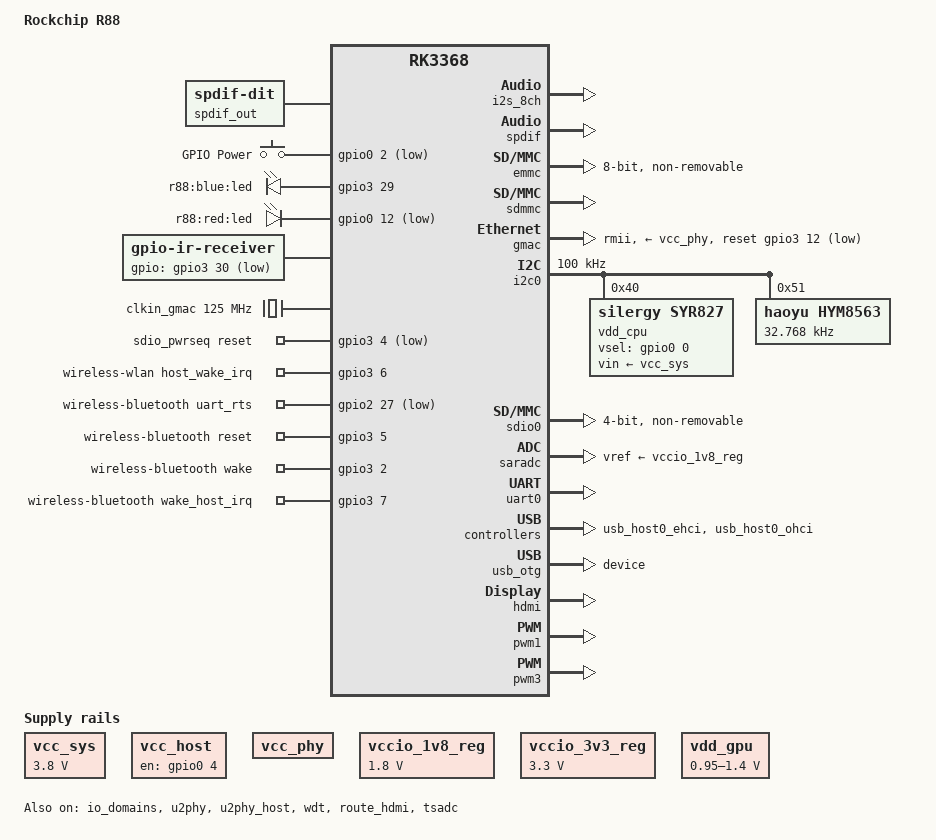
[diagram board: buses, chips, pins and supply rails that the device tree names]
/*
 * Copyright (c) 2015 Heiko Stuebner <heiko@sntech.de>
 *
 * This file is dual-licensed: you can use it either under the terms
 * of the GPL or the X11 license, at your option. Note that this dual
 * licensing only applies to this file, and not this project as a
 * whole.
 *
 *  a) This file is free software; you can redistribute it and/or
 *     modify it under the terms of the GNU General Public License as
 *     published by the Free Software Foundation; either version 2 of the
 *     License, or (at your option) any later version.
 *
 *     This file is distributed in the hope that it will be useful,
 *     but WITHOUT ANY WARRANTY; without even the implied warranty of
 *     MERCHANTABILITY or FITNESS FOR A PARTICULAR PURPOSE.  See the
 *     GNU General Public License for more details.
 *
 * Or, alternatively,
 *
 *  b) Permission is hereby granted, free of charge, to any person
 *     obtaining a copy of this software and associated documentation
 *     files (the "Software"), to deal in the Software without
 *     restriction, including without limitation the rights to use,
 *     copy, modify, merge, publish, distribute, sublicense, and/or
 *     sell copies of the Software, and to permit persons to whom the
 *     Software is furnished to do so, subject to the following
 *     conditions:
 *
 *     The above copyright notice and this permission notice shall be
 *     included in all copies or substantial portions of the Software.
 *
 *     THE SOFTWARE IS PROVIDED "AS IS", WITHOUT WARRANTY OF ANY KIND,
 *     EXPRESS OR IMPLIED, INCLUDING BUT NOT LIMITED TO THE WARRANTIES
 *     OF MERCHANTABILITY, FITNESS FOR A PARTICULAR PURPOSE AND
 *     NONINFRINGEMENT. IN NO EVENT SHALL THE AUTHORS OR COPYRIGHT
 *     HOLDERS BE LIABLE FOR ANY CLAIM, DAMAGES OR OTHER LIABILITY,
 *     WHETHER IN AN ACTION OF CONTRACT, TORT OR OTHERWISE, ARISING
 *     FROM, OUT OF OR IN CONNECTION WITH THE SOFTWARE OR THE USE OR
 *     OTHER DEALINGS IN THE SOFTWARE.
 */

/dts-v1/;
#include "rk3368.dtsi"
#include "rk3368-android.dtsi"
#include <dt-bindings/input/input.h>

/ {
	model = "Rockchip R88";
	compatible = "rockchip,r88", "rockchip,rk3368";

	hdmi_sound: hdmi-sound {
		status = "okay";
		compatible = "simple-audio-card";
		simple-audio-card,format = "i2s";
		simple-audio-card,mclk-fs = <256>;
		simple-audio-card,name = "rockchip,hdmi";

		simple-audio-card,cpu {
			sound-dai = <&i2s_8ch>;
		};
		simple-audio-card,codec {
			sound-dai = <&hdmi>;
		};
	};

	spdif_sound: spdif-sound {
		compatible = "simple-audio-card";
		simple-audio-card,name = "ROCKCHIP,SPDIF";
		simple-audio-card,cpu {
			sound-dai = <&spdif>;
		};
		simple-audio-card,codec {
			sound-dai = <&spdif_out>;
		};
	};

	spdif_out: spdif-out {
		compatible = "linux,spdif-dit";
		#sound-dai-cells = <0>;
	};

	keys: gpio-keys {
		compatible = "gpio-keys";
		#address-cells = <1>;
		#size-cells = <0>;
		pinctrl-names = "default";
		pinctrl-0 = <&pwr_key>;

		button@0 {
			gpio-key,wakeup = <1>;
			gpios = <&gpio0 2 GPIO_ACTIVE_LOW>;
			label = "GPIO Power";
			linux,code = <116>;
		};
	};

	leds: gpio-leds {
		compatible = "gpio-leds";

		work {
			gpios = <&gpio3 29 GPIO_ACTIVE_HIGH>;
			label = "r88:blue:led";
            linux,default-trigger = "default-on";
			pinctrl-names = "default";
			pinctrl-0 = <&led_ctl>;
		};

		power {
			gpios = <&gpio0 12 GPIO_ACTIVE_LOW>;
			label = "r88:red:led";
            linux,default-trigger = "default-off";
			pinctrl-names = "default";
			pinctrl-0 = <&stby_pwren>;
		};
	};

	ir: ir-receiver {
		compatible = "gpio-ir-receiver";
		gpios = <&gpio3 30 GPIO_ACTIVE_LOW>;
		pinctrl-names = "default";
		pinctrl-0 = <&ir_int>;
	};

	vcc_sys: vcc-sys {
		compatible = "regulator-fixed";
		regulator-name = "vcc_sys";
		regulator-always-on;
		regulator-boot-on;
		regulator-min-microvolt = <3800000>;
		regulator-max-microvolt = <3800000>;
	};

	vcc_host: vcc-host {
		compatible = "regulator-fixed";
		enable-active-high;
		gpio = <&gpio0 4 GPIO_ACTIVE_HIGH>;
		pinctrl-names = "default";
		pinctrl-0 = <&host_vbus_drv>;
		regulator-name = "vcc_host";
		regulator-always-on;
	};

	vcc_phy: vcc-phy-regulator {
		compatible = "regulator-fixed";
		regulator-name = "vcc_phy";
		regulator-always-on;
		regulator-boot-on;
	};

	regulators {
		compatible = "simple-bus";
		#address-cells = <1>;
		#size-cells = <0>;

		vccio_1v8_reg: regulator@0 {
			compatible = "regulator-fixed";
			regulator-name = "vccio_1v8";
			regulator-min-microvolt = <1800000>;
			regulator-max-microvolt = <1800000>;
			regulator-always-on;
		};

		vccio_3v3_reg: regulator@1 {
			compatible = "regulator-fixed";
			regulator-name = "vccio_3v3";
			regulator-min-microvolt = <3300000>;
			regulator-max-microvolt = <3300000>;
			regulator-always-on;
		};
	};

	vdd_gpu: vdd-arm-regulator {
			compatible = "pwm-regulator";
			rockchip,pwm_id = <1>;
			rockchip,pwm_voltage = <1100000>;
			pwms = <&pwm1 0 25000 1>;
			regulator-name = "vdd_gpu";
			regulator-min-microvolt = <950000>;
			regulator-max-microvolt = <1400000>;
			regulator-always-on;
			regulator-boot-on;
	};

	clkin_gmac: external-gmac-clock {
		compatible = "fixed-clock";
		clock-frequency = <125000000>;
		clock-output-names = "clkin_gmac";
		#clock-cells = <0>;
	};

	sdio_pwrseq: sdio-pwrseq {
		compatible = "mmc-pwrseq-simple";
		pinctrl-names = "default";
		pinctrl-0 = <&wifi_enable_h>;

		/*
		 * On the module itself this is one of these (depending
		 * on the actual card populated):
		 * - SDIO_RESET_L_WL_REG_ON
		 * - PDN (power down when low)
		 */
		reset-gpios = <&gpio3 4 GPIO_ACTIVE_LOW>;
	};

	wireless-wlan {
		compatible = "wlan-platdata";
		rockchip,grf = <&grf>;
		wifi_chip_type = "ap6255";
		sdio_vref = <3300>;
		WIFI,host_wake_irq = <&gpio3 6 GPIO_ACTIVE_HIGH>;
		status = "okay";
	};

	wireless-bluetooth {
		compatible = "bluetooth-platdata";
		//clocks = <&rk808 1>;
		//clock-names = "ext_clock";
		/* wifi-bt-power-toggle; */
		uart_rts_gpios = <&gpio2 27 GPIO_ACTIVE_LOW>;
		pinctrl-names = "default", "rts_gpio";
		pinctrl-0 = <&uart0_rts>;
		pinctrl-1 = <&uart0_gpios>;
		/* BT,power_gpio  = <&gpio3 19 GPIO_ACTIVE_HIGH>; */
		BT,reset_gpio    = <&gpio3 5 GPIO_ACTIVE_HIGH>;
		BT,wake_gpio     = <&gpio3 2 GPIO_ACTIVE_HIGH>;
		BT,wake_host_irq = <&gpio3 7 GPIO_ACTIVE_HIGH>;
		status = "okay";
	};

	thermal_zones: thermal-zones {
		soc_thermal: soc-thermal {
			trips {
				threshold: trip-point@0 {
					temperature = <80000>;//<70000>; /* millicelsius */
					hysteresis = <2000>; /* millicelsius */
					type = "passive";
				};
				target: trip-point@1 {
					temperature = <90000>;//<80000>; /* millicelsius */
					hysteresis = <2000>; /* millicelsius */
					type = "passive";
				};
				soc_crit: soc-crit {
					temperature = <120000>;//<95000>; /* millicelsius */
					hysteresis = <2000>; /* millicelsius */
					type = "critical";
				};
			};
		};
	};

};

&i2s_8ch {
	status = "okay";
	rockchip,i2s-broken-burst-len;
	rockchip,playback-channels = <8>;
	rockchip,capture-channels = <2>;
	#sound-dai-cells = <0>;
};

&spdif {
	#sound-dai-cells = <0>;
	status = "okay";
};

&spdif_out {
        status = "okay";
};

&spdif_sound {
        status = "okay";
};

&emmc {
	status = "okay";
	bus-width = <8>;
	cap-mmc-highspeed;
	supports-emmc;
	disable-wp;
	non-removable;
	num-slots = <1>;
	pinctrl-names = "default";
	pinctrl-0 = <&emmc_clk &emmc_cmd &emmc_bus8>;
};

&sdmmc {
	status = "okay";
	clock-frequency = <37500000>;
	clock-freq-min-max = <400000 37500000>;
	supports-sd;
	cap-mmc-highspeed;
	cap-sd-highspeed;
	card-detect-delay = <200>;
	disable-wp;
	num-slots = <1>;
	pinctrl-names = "default";
	pinctrl-0 = <&sdmmc_clk &sdmmc_cmd &sdmmc_cd &sdmmc_bus4>;
};

&gmac {
	phy-supply = <&vcc_phy>;
	phy-mode = "rmii";
	clock_in_out = "output";
	snps,reset-gpio = <&gpio3 12 0>;
	snps,reset-active-low;
	snps,reset-delays-us = <0 50000 50000>;
	pinctrl-names = "default";
	pinctrl-0 = <&rmii_pins>;
	tx_delay = <0x30>;
	rx_delay = <0x10>;
	status = "ok";
};

&i2c0 {
	status = "okay";
	clock-frequency = <100000>;

	vdd_cpu: syr827@40 {
		compatible = "silergy,syr827";
		reg = <0x40>;
		status = "okay";
		vin-supply = <&vcc_sys>;
		regulator-compatible = "fan53555-reg";
		pinctrl-names = "default";
		pinctrl-0 = <&vsel_gpio>;
		vsel-gpios = <&gpio0 0 GPIO_ACTIVE_HIGH>;
		regulator-name = "vdd_cpu";
		regulator-min-microvolt = <712500>;
		regulator-max-microvolt = <1500000>;
		regulator-ramp-delay = <1000>;
		fcs,suspend-voltage-selector = <1>;
		regulator-always-on;
		regulator-boot-on;
		regulator-initial-state = <3>;
		regulator-state-mem {
		regulator-off-in-suspend;
		};
	};



	hym8563: hym8563@51 {
		compatible = "haoyu,hym8563";
		reg = <0x51>;
		#clock-cells = <0>;
		clock-frequency = <32768>;
		clock-output-names = "xin32k";
		/* rtc_int is not connected */
	};
};

&i2c1 {
	status = "disabled";
};

&lvds {
	status = "disabled";
};

&io_domains {
	status = "ok";

	dvp-supply = <&vccio_1v8_reg>;		/* DVPIO_VDD */
	sdcard-supply = <&vccio_3v3_reg>;	/* SDMMC0_VDD (sdmmc) */

	audio-supply = <&vccio_3v3_reg>;	/* APIO3_VDD */
	gpio30-supply = <&vccio_3v3_reg>;	/* APIO1_VDD */
	gpio1830-supply = <&vccio_3v3_reg>;	/* APIO4_VDD (gpujtag) */
	wifi-supply = <&vccio_3v3_reg>;	/* APIO2_VDD (sdio0) */
};

&sdio0 {
	bus-width = <4>;
	cap-sd-highspeed;
	cap-sdio-irq;
	keep-power-in-suspend;
	max-frequency = <100000000>;
	non-removable;
	num-slots = <1>;
	pinctrl-names = "default";
	pinctrl-0 = <&sdio0_bus4 &sdio0_cmd &sdio0_clk>;
	mmc-pwrseq = <&sdio_pwrseq>;
	supports-sdio;
	status = "okay";
};

&pinctrl {
	pcfg_pull_none_drv_8ma: pcfg-pull-none-drv-8ma {
		bias-disable;
		drive-strength = <8>;
	};

	pcfg_pull_up_drv_8ma: pcfg-pull-up-drv-8ma {
		bias-pull-up;
		drive-strength = <8>;
	};

	pmic {
		pmic_int: pmic-int {
			rockchip,pins = <RK_GPIO0 5 RK_FUNC_GPIO &pcfg_pull_up>;
		};
		vsel_gpio: vsel1_gpio {
			rockchip,pins = <0 0 RK_FUNC_GPIO &pcfg_pull_down>;
		};
	};

	emmc {
		emmc_bus8: emmc-bus8 {
			rockchip,pins = <1 18 RK_FUNC_2 &pcfg_pull_up_drv_8ma>,
					<1 19 RK_FUNC_2 &pcfg_pull_up_drv_8ma>,
					<1 20 RK_FUNC_2 &pcfg_pull_up_drv_8ma>,
					<1 21 RK_FUNC_2 &pcfg_pull_up_drv_8ma>,
					<1 22 RK_FUNC_2 &pcfg_pull_up_drv_8ma>,
					<1 23 RK_FUNC_2 &pcfg_pull_up_drv_8ma>,
					<1 24 RK_FUNC_2 &pcfg_pull_up_drv_8ma>,
					<1 25 RK_FUNC_2 &pcfg_pull_up_drv_8ma>;
		};

		emmc-clk {
			rockchip,pins = <2 4 RK_FUNC_2 &pcfg_pull_none_drv_8ma>;
		};

		emmc-cmd {
			rockchip,pins = <1 26 RK_FUNC_2 &pcfg_pull_up_drv_8ma>;
		};

		emmc_reset: emmc-reset {
			rockchip,pins = <2 3 RK_FUNC_GPIO &pcfg_pull_none>;
		};
	};

	ir {
		ir_int: ir-int {
			rockchip,pins = <3 30 RK_FUNC_GPIO &pcfg_pull_up>;
		};
	};

	keys {
		pwr_key: pwr-key {
			rockchip,pins = <0 2 RK_FUNC_GPIO &pcfg_pull_up>;
		};
	};

	leds {
		stby_pwren: stby-pwren {
			rockchip,pins = <0 12 RK_FUNC_GPIO &pcfg_pull_none>;
		};

		led_ctl: led-ctl {
			rockchip,pins = <3 29 RK_FUNC_GPIO &pcfg_pull_none>;
		};
	};

	sdio-pwrseq {
		wifi_enable_h: wifi-enable-h {
			rockchip,pins = <3 4 RK_FUNC_GPIO &pcfg_pull_none>;
		};
	};

	wireless-bluetooth {
		uart0_gpios: uart0-gpios {
			rockchip,pins = <2 27 RK_FUNC_GPIO &pcfg_pull_none>;
		};
	};

	usb {
		host_vbus_drv: host-vbus-drv {
			rockchip,pins = <0 4 RK_FUNC_GPIO &pcfg_pull_none>;
		};
	};
		uart2 {
			uart2_xfer: uart2-xfer {

				rockchip,pins = <2 6 RK_FUNC_1 &pcfg_pull_up>,
						<2 5 RK_FUNC_1 &pcfg_pull_none>;
			};
		};
};

&pmu_io_domains {
	status = "okay";

	pmu-supply = <&vccio_3v3_reg>;
	vop-supply = <&vccio_3v3_reg>;

};

&saradc {
	vref-supply = <&vccio_1v8_reg>;
	status = "okay";
};

&uart0 {
	pinctrl-names = "default";
	pinctrl-0 = <&uart0_xfer &uart0_cts>;
	status = "okay";
};

&uart2 {
	status = "disabled";
};

&usb_host0_ehci {
	status = "okay";
};

&usb_host0_ohci {
	status = "okay";
};

&usb_otg {
	dr_mode = "device";
	status = "okay";
	/* 0 - Normal, 1 - Force Host, 2 - Force Device */
	rockchip,usb-mode = <1>;
};


&u2phy {
	status = "okay";
};

&u2phy_host {
	status = "okay";
};

&wdt {
	status = "okay";
};

&route_hdmi {
	status = "okay";
};

&hdmi {
	status = "okay";
	#sound-dai-cells = <0>;
};

&mailbox {
	status = "okay";
};

&mailbox_scpi {
	status = "okay";
};

&tsadc {
	tsadc-supply = <&vdd_cpu>;
	status = "okay";
};

&cpu_l0 {
	cpu-supply = <&vdd_cpu>;
};

&cpu_l1 {
	cpu-supply = <&vdd_cpu>;
};

&cpu_l2 {
	cpu-supply = <&vdd_cpu>;
};

&cpu_l3 {
	cpu-supply = <&vdd_cpu>;
};

&cpu_b0 {
	cpu-supply = <&vdd_cpu>;
};

&cpu_b1 {
	cpu-supply = <&vdd_cpu>;
};

&cpu_b2 {
	cpu-supply = <&vdd_cpu>;
};

&cpu_b3 {
	cpu-supply = <&vdd_cpu>;
};

&gpu {
	logic-supply = <&vdd_gpu>;
};

&rockchip_suspend {
	status = "okay";
	rockchip,sleep-debug-en = <0>;//<1>;
	rockchip,sleep-mode-config = <
		(0
		| RKPM_SLP_ARMOFF
		| RKPM_SLP_PMU_PLLS_PWRDN
		| RKPM_SLP_PMU_PMUALIVE_32K
		| RKPM_SLP_SFT_PLLS_DEEP
		| RKPM_SLP_PMU_DIS_OSC
		| RKPM_SLP_SFT_PD_NBSCUS
		)
	>;
	rockchip,wakeup-config = <
		(0
		| RKPM_GPIO_WKUP_EN
		| RKPM_USB_WKUP_EN
		| RKPM_CLUSTER_L_WKUP_EN
		)
	>;
};

&pwm1 {
	status = "okay";
};

&pwm3 {
	status = "okay";

	interrupts = <GIC_SPI 78 IRQ_TYPE_LEVEL_HIGH>;
	compatible = "rockchip,remotectl-pwm";
	remote_pwm_id = <3>;
	handle_cpu_id = <1>;

	ir_key1 {
		rockchip,usercode = <0x4040>;
		rockchip,key_table =
			<0xf2   KEY_REPLY>,
			<0xba   KEY_BACK>,
			<0xf4   KEY_UP>,
			<0xf1   KEY_DOWN>,
			<0xef   KEY_LEFT>,
			<0xee   KEY_RIGHT>,
			<0xbd   KEY_HOME>,
			<0xea   KEY_VOLUMEUP>,
			<0xe3   KEY_VOLUMEDOWN>,
			<0xe2   KEY_SEARCH>,
			<0xb2   KEY_POWER>,
			<0xbc   KEY_MUTE>,
			<0xec   KEY_MENU>,
			<0xbf   0x190>,
			<0xe0   0x191>,
			<0xe1   0x192>,
			<0xe9   183>,
			<0xe6   248>,
			<0xe8   185>,
			<0xe7   186>,
			<0xf0   388>,
			<0xbe   0x175>;
	};

	ir_key2 {
		rockchip,usercode = <0xff00>;
		rockchip,key_table =
			<0xf9   KEY_HOME>,
			<0xbf   KEY_BACK>,
			<0xfb   KEY_MENU>,
			<0xaa   KEY_REPLY>,
			<0xb9   KEY_UP>,
			<0xe9   KEY_DOWN>,
			<0xb8   KEY_LEFT>,
			<0xea   KEY_RIGHT>,
			<0xeb   KEY_VOLUMEDOWN>,
			<0xef   KEY_VOLUMEUP>,
			<0xf7   KEY_MUTE>,
			<0xe7   KEY_POWER>,
			<0xfc   KEY_POWER>,
			<0xa9   KEY_VOLUMEDOWN>,
			<0xa8   KEY_VOLUMEDOWN>,
			<0xe0   KEY_VOLUMEDOWN>,
			<0xa5   KEY_VOLUMEDOWN>,
			<0xab   183>,
			<0xb7   388>,
			<0xe8   388>,
			<0xf8   184>,
			<0xaf   185>,
			<0xed   KEY_VOLUMEDOWN>,
			<0xee   186>,
			<0xb3   KEY_VOLUMEDOWN>,
			<0xb3   KEY_VOLUMEDOWN>,
			<0xf1   KEY_VOLUMEDOWN>,
			<0xf2   KEY_VOLUMEDOWN>,
			<0xf3   KEY_SEARCH>,
			<0xb4   KEY_VOLUMEDOWN>,
			<0xbe   KEY_SEARCH>;
	};

	ir_key3 { //for v99hero
		rockchip,usercode = <0x1dcc>;
		rockchip,key_table =
			<0xff   KEY_POWER>,
			<0xf3   KEY_MUTE>,
			<0xfd   KEY_VOLUMEDOWN>,
			<0xf9   KEY_PREVIOUSSONG>,
			<0xf5   KEY_NEXTSONG>,
			<0xe9	KEY_PLAYPAUSE>,
			<0xf1   KEY_VOLUMEUP>,
			<0xfc   KEY_HOMEPAGE>,
			<0xf0   KEY_BACK>,
			<0xee   KEY_ENTER>,
			<0xf8   KEY_UP>,
			<0xbb   KEY_DOWN>,
			<0xef   KEY_LEFT>,
			<0xed   KEY_RIGHT>,
			<0xbf   KEY_MENU>,
			<0xbe   KEY_1>,
			<0xba   KEY_2>,
			<0xb2   KEY_3>,
			<0xbd   KEY_4>,
			<0xb9   KEY_5>,
			<0xb1   KEY_6>,
			<0xbc   KEY_7>,
			<0xb8   KEY_8>,
			<0xb0   KEY_9>,
			<0xb6   KEY_0>,
			<0xb5   KEY_BACKSPACE>,
			<0xfe   KEY_F1>,
			<0xfa   KEY_F2>,
			<0xf6   KEY_F3>,
			<0xf2   KEY_F4>,
			<0xb7   KEY_F6>,
			<0xb3   388>;
			
	};

		ir_key4 { //for v99hero
			rockchip,usercode = <0xfe01>;
			rockchip,key_table = 
			<0xbf   KEY_POWER>,
			<0xbe   KEY_MUTE>,
			<0xb3   KEY_VOLUMEDOWN>,
			<0xee   KEY_VOLUMEUP>,
			<0xe7   KEY_HOMEPAGE>,
			<0xe6	KEY_BACK>,
			<0xec   KEY_ENTER>,
			<0xe9   KEY_UP>,
			<0xe5   KEY_DOWN>,
			<0xae   KEY_LEFT>,
			<0xaf   KEY_RIGHT>,
			<0xef   KEY_MENU>,
			<0xb1   KEY_1>,
			<0xf2   KEY_2>,
			<0xf3   KEY_3>,
			<0xb5   KEY_4>,
			<0xf6   KEY_5>,
			<0xf7   KEY_6>,
			<0xb9   KEY_7>,
			<0xfa   KEY_8>,
			<0xfb   KEY_9>,
			<0xfe   KEY_0>,
			<0xb2   KEY_F3>,
			<0xbd   KEY_BACKSPACE>,
			<0xff   388>;

		};

};
